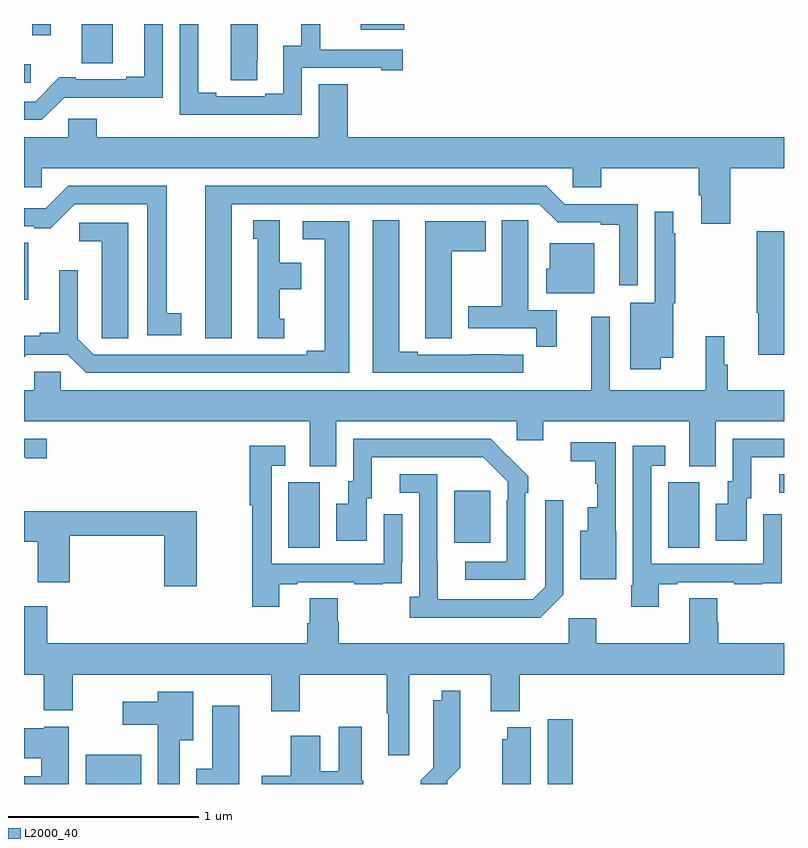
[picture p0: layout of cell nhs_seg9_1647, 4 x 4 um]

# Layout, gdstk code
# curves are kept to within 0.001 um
import gdstk
lib = gdstk.Library(unit=1e-6, precision=1e-09)
def R(c, l, rs):  # rectangles x0, y0, x1, y1
    for r in rs: c.add(gdstk.rectangle(r[:2], r[2:], *l))
def P(c, l, *ps):  # polygons
    for p in ps: c.add(gdstk.Polygon(p, *l))
L2000_40 = (2000, 40)

nhs_seg9_1647 = lib.new_cell('nhs_seg9_1647')
R(nhs_seg9_1647, L2000_40, [(203.324,1206.5,203.617,1206.655), (205.757,1206.5,205.889,1206.841), (204.392,1207.744,204.556,1208.088), (206.39,1207.744,206.554,1208.088), (205.265,1207.769,205.453,1208.044), (206.976,1208.034,207,1208.13), (203,1210.191,203.035,1210.288), (203.043,1210.44,203.14,1210.5), (204.773,1210.469,205,1210.5)])
P(nhs_seg9_1647, L2000_40, [(204.462,1210.269),(204.881,1210.269),(204.881,1210.257),(204.994,1210.257),(204.994,1210.365),(204.56,1210.365),(204.56,1210.366),(204.558,1210.366),(204.558,1210.5),(204.46,1210.5),(204.46,1210.385),(204.365,1210.385),(204.365,1210.134),(204.269,1210.134),(204.269,1210.119),(204.013,1210.119),(204.013,1210.139),(203.917,1210.139),(203.917,1210.5),(203.82,1210.5),(203.82,1210.023),(204.462,1210.023)],
  [(203.467,1210.5),(203.303,1210.5),(203.303,1210.452),(203.305,1210.452),(203.305,1210.294),(203.467,1210.294)],
  [(204.228,1210.312),(204.229,1210.312),(204.229,1210.5),(204.089,1210.5),(204.089,1210.204),(204.228,1210.204)],
  [(203.211,1210.113),(203.73,1210.112),(203.73,1210.5),(203.633,1210.5),(203.633,1210.222),(203.537,1210.222),(203.537,1210.209),(203.272,1210.209),(203.272,1210.22),(203.186,1210.22),(203.058,1210.092),(203,1210.092),(203,1209.996),(203.094,1209.996)],
  [(206.717,1209.74),(207,1209.74),(207,1209.904),(204.704,1209.904),(204.704,1210.184),(204.551,1210.184),(204.551,1209.904),(203.384,1209.904),(203.384,1210.002),(203.232,1210.002),(203.232,1209.904),(203,1209.904),(203,1209.642),(203.094,1209.642),(203.094,1209.74),(205.887,1209.74),(205.887,1209.642),(206.039,1209.642),(206.039,1209.74),(206.552,1209.74),(206.552,1209.598),(206.564,1209.598),(206.564,1209.45),(206.717,1209.45)],
  [(204.094,1209.552),(205.713,1209.552),(205.809,1209.456),(206.036,1209.456),(206.036,1209.444),(206.132,1209.444),(206.132,1209.126),(206.229,1209.126),(206.229,1209.552),(205.845,1209.552),(205.749,1209.648),(203.954,1209.648),(203.954,1208.847),(204.094,1208.847)],
  [(203.827,1208.978),(203.752,1208.978),(203.752,1209.648),(203.232,1209.648),(203.115,1209.531),(203,1209.531),(203,1209.435),(203.054,1209.435),(203.054,1209.424),(203.14,1209.424),(203.268,1209.552),(203.648,1209.552),(203.648,1208.862),(203.827,1208.862)],
  [(206.35,1208.744),(206.416,1208.744),(206.416,1209.03),(206.428,1209.03),(206.428,1209.398),(206.416,1209.398),(206.416,1209.511),(206.319,1209.511),(206.319,1209.034),(206.192,1209.034),(206.192,1208.682),(206.35,1208.682)],
  [(204.37,1208.949),(204.346,1208.949),(204.346,1209.104),(204.46,1209.104),(204.46,1209.244),(204.346,1209.244),(204.346,1209.467),(204.206,1209.467),(204.206,1209.369),(204.23,1209.369),(204.23,1208.847),(204.37,1208.847)],
  [(205.805,1208.994),(205.654,1208.994),(205.654,1209.356),(205.653,1209.356),(205.653,1209.467),(205.514,1209.467),(205.514,1209.015),(205.337,1209.015),(205.337,1208.898),(205.696,1208.898),(205.696,1208.802),(205.805,1208.802)],
  [(205.627,1208.76),(205.514,1208.76),(205.514,1208.761),(205.348,1208.761),(205.348,1208.76),(205.072,1208.76),(205.072,1208.775),(204.976,1208.775),(204.976,1209.467),(204.836,1209.467),(204.836,1208.664),(205.627,1208.664)],
  [(205.252,1209.304),(205.429,1209.304),(205.429,1209.463),(205.112,1209.463),(205.112,1208.953),(205.113,1208.953),(205.113,1208.845),(205.252,1208.845)],
  [(204.712,1209.462),(204.468,1209.462),(204.468,1209.366),(204.584,1209.366),(204.584,1208.78),(204.488,1208.78),(204.488,1208.76),(203.367,1208.76),(203.283,1208.844),(203.283,1209.205),(203.186,1209.205),(203.186,1208.876),(203.082,1208.876),(203.082,1208.858),(203,1208.858),(203,1208.747),(203.013,1208.76),(203.231,1208.76),(203.327,1208.664),(204.712,1208.664)],
  [(203.548,1209.453),(203.292,1209.453),(203.292,1209.356),(203.408,1209.356),(203.408,1208.953),(203.409,1208.953),(203.409,1208.845),(203.548,1208.845)],
  [(207,1209.409),(206.857,1209.409),(206.857,1208.979),(206.864,1208.979),(206.864,1208.76),(207,1208.76)],
  [(203.023,1209.192),(203.022,1209.192),(203.022,1209.35),(203,1209.35),(203,1209.048),(203.023,1209.048)],
  [(206.002,1209.346),(205.766,1209.346),(205.766,1209.213),(205.748,1209.213),(205.748,1209.083),(206.002,1209.083)],
  [(206.501,1208.173),(206.641,1208.173),(206.641,1208.408),(207,1208.408),(207,1208.572),(206.705,1208.572),(206.705,1208.706),(206.686,1208.706),(206.686,1208.857),(206.587,1208.857),(206.587,1208.572),(206.082,1208.572),(206.082,1208.959),(205.985,1208.959),(205.985,1208.572),(203.193,1208.572),(203.193,1208.67),(203.055,1208.67),(203.055,1208.572),(203,1208.572),(203,1208.408),(204.503,1208.408),(204.503,1208.173),(204.643,1208.173),(204.643,1208.408),(205.593,1208.408),(205.593,1208.31),(205.732,1208.31),(205.732,1208.408),(206.501,1208.408)],
  [(203.119,1208.316),(203,1208.316),(203,1208.22),(203.006,1208.22),(203.006,1208.215),(203.119,1208.215)],
  [(206.803,1208.004),(206.827,1208.004),(206.827,1208.22),(207,1208.22),(207,1208.316),(206.73,1208.316),(206.73,1208.094),(206.705,1208.094),(206.705,1207.975),(206.642,1207.975),(206.642,1207.779),(206.803,1207.779)],
  [(205.638,1208.033),(205.653,1208.033),(205.653,1208.121),(205.456,1208.316),(204.732,1208.316),(204.732,1208.094),(204.707,1208.094),(204.707,1207.975),(204.644,1207.975),(204.644,1207.779),(204.805,1207.779),(204.805,1208.004),(204.829,1208.004),(204.829,1208.22),(205.417,1208.22),(205.545,1208.091),(205.545,1207.991),(205.542,1207.991),(205.542,1207.671),(205.323,1207.671),(205.323,1207.575),(205.638,1207.575)],
  [(206.116,1207.83),(206.115,1207.83),(206.115,1208.298),(205.878,1208.298),(205.878,1208.2),(206.007,1208.2),(206.007,1208.079),(206.018,1208.079),(206.018,1207.957),(205.967,1207.957),(205.967,1207.834),(205.928,1207.834),(205.928,1207.577),(206.116,1207.577)],
  [(204.343,1207.551),(204.439,1207.551),(204.439,1207.563),(204.739,1207.563),(204.739,1207.551),(204.887,1207.551),(204.887,1207.557),(204.989,1207.557),(204.989,1207.666),(204.99,1207.666),(204.99,1207.921),(204.894,1207.921),(204.894,1207.659),(204.303,1207.659),(204.303,1208.175),(204.376,1208.175),(204.376,1208.281),(204.187,1208.281),(204.187,1207.968),(204.202,1207.968),(204.202,1207.434),(204.343,1207.434)],
  [(206.341,1207.551),(206.437,1207.551),(206.437,1207.563),(206.737,1207.563),(206.737,1207.551),(206.885,1207.551),(206.885,1207.557),(206.987,1207.557),(206.987,1207.666),(206.988,1207.666),(206.988,1207.921),(206.892,1207.921),(206.892,1207.659),(206.301,1207.659),(206.301,1208.175),(206.374,1208.175),(206.374,1208.281),(206.205,1208.281),(206.205,1207.546),(206.197,1207.546),(206.197,1207.434),(206.341,1207.434)],
  [(205.839,1207.497),(205.839,1207.993),(205.743,1207.993),(205.743,1207.539),(205.677,1207.473),(205.177,1207.473),(205.176,1208.13),(204.978,1208.13),(204.978,1208.034),(205.08,1208.034),(205.08,1207.486),(205.029,1207.486),(205.029,1207.376),(205.718,1207.376)],
  [(203.908,1207.936),(203,1207.936),(203,1207.774),(203.072,1207.774),(203.072,1207.563),(203.24,1207.563),(203.24,1207.807),(203.738,1207.807),(203.738,1207.542),(203.908,1207.542)],
  [(205.027,1207.076),(205.457,1207.076),(205.457,1206.884),(205.61,1206.884),(205.61,1207.076),(207,1207.076),(207,1207.24),(206.654,1207.24),(206.654,1207.353),(206.649,1207.353),(206.649,1207.478),(206.501,1207.478),(206.501,1207.24),(206.013,1207.24),(206.013,1207.372),(205.866,1207.372),(205.866,1207.24),(204.656,1207.24),(204.656,1207.353),(204.651,1207.353),(204.651,1207.478),(204.503,1207.478),(204.503,1207.346),(204.491,1207.346),(204.491,1207.24),(203.123,1207.24),(203.123,1207.435),(203,1207.435),(203,1207.076),(203.105,1207.076),(203.105,1206.887),(203.257,1206.887),(203.257,1207.076),(204.302,1207.076),(204.302,1206.882),(204.45,1206.882),(204.45,1207.076),(204.91,1207.076),(204.91,1206.872),(204.917,1206.872),(204.917,1206.651),(205.027,1206.651)],
  [(205.227,1206.516),(205.297,1206.586),(205.297,1206.688),(205.296,1206.688),(205.296,1206.991),(205.199,1206.991),(205.199,1206.94),(205.154,1206.94),(205.154,1206.586),(205.087,1206.519),(205.087,1206.5),(205.227,1206.5)],
  [(203.821,1206.731),(203.89,1206.731),(203.89,1206.985),(203.705,1206.985),(203.705,1206.934),(203.52,1206.934),(203.52,1206.812),(203.705,1206.812),(203.705,1206.5),(203.821,1206.5)],
  [(204.133,1206.913),(203.99,1206.913),(203.99,1206.58),(203.906,1206.58),(203.906,1206.5),(204.133,1206.5)],
  [(204.786,1206.517),(204.778,1206.517),(204.778,1206.802),(204.656,1206.802),(204.656,1206.566),(204.559,1206.566),(204.559,1206.754),(204.404,1206.754),(204.404,1206.543),(204.252,1206.543),(204.252,1206.5),(204.786,1206.5)],
  [(203.236,1206.802),(203.106,1206.802),(203.106,1206.793),(203,1206.793),(203,1206.635),(203.09,1206.635),(203.09,1206.54),(203,1206.54),(203,1206.5),(203.236,1206.5)],
  [(205.666,1206.799),(205.544,1206.799),(205.544,1206.735),(205.517,1206.735),(205.517,1206.5),(205.666,1206.5)])

lib.write_gds('nhs_seg9_1647.gds')
